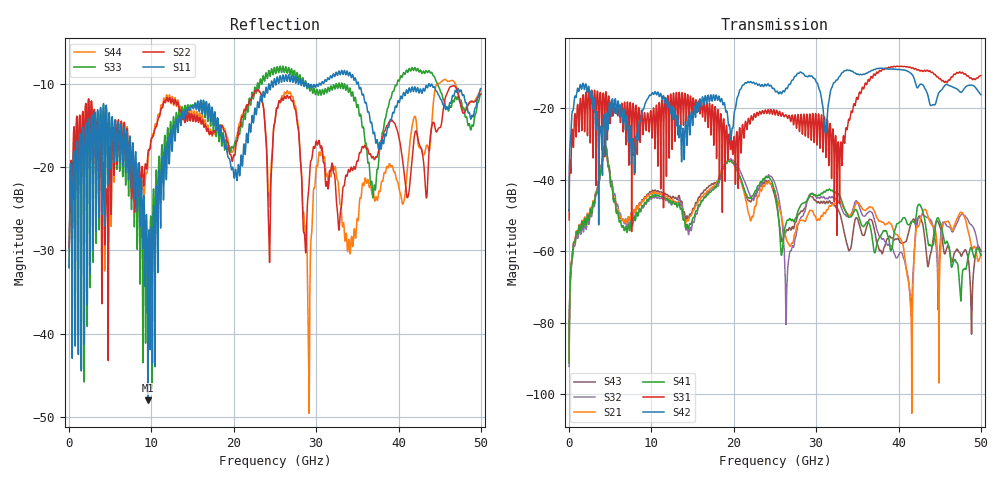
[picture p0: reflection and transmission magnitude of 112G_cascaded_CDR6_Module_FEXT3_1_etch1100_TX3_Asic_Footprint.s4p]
! Created Wed Feb 27 11:48:29 2019
# hz S ma R 50
! 4 Port Network Data from SP1.SP block
! freq  magS11  angS11  magS12  angS12  magS13  angS13  magS14  angS14
!  magS21  angS21  magS22  angS22  magS23  angS23  magS24  angS24
!  magS31  angS31  magS32  angS32  magS33  angS33  magS34  angS34
!  magS41  angS41  magS42  angS42  magS43  angS43  magS44  angS44
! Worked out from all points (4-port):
!   5000 points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, 10 MHz to 50 GHz, reference 50 ohm
!   strongest paths, dB at 10 MHz, 12.51 GHz, 25.01 GHz, 37.51 GHz, 50 GHz:
!     S42: -48.6, -19.6, -15.1, -8.8, -16.1
!     S31: -51.2, -31.4, -21.7, -10.1, -10.8
!     S41: -91.2, -46.6, -43.7, -56.9, -61.1
!     S21: -90.9, -45.8, -43.3, -51.0, -60.8
!     S32: -92.3, -46.8, -41.0, -54.8, -60.1
!     S43: -91.0, -45.0, -44.8, -58.4, -59.9
!   lowest |S11| = -48.0 dB at 9.56 GHz (marker M1), VSWR 1.01, Z = 50.3 - j0.309 ohm
!   |S11| at or under -10 dB: start of sweep to 24.53 GHz; 35.13 GHz to 43.67 GHz (8.541 GHz wide, 21.7 % of centre); 43.71 GHz to end of sweep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
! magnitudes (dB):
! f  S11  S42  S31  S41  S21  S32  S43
! 10 MHz  -32.1  -48.6  -51.2  -91.2  -90.9  -92.3  -91.0
! 1.19 GHz  -22.0  -15.2  -26.2  -53.2  -52.9  -54.4  -52.9
! 4.35 GHz  -27.1  -25.5  -27.1  -30.6  -30.4  -30.4  -30.7
! 9.56 GHz  -48.0  -17.3  -21.3  -45.5  -44.4  -45.7  -44.0
! 26.42 GHz  -9.5  -14.4  -22.2  -51.6  -56.9  -72.2  -53.9
! 29.12 GHz  -10.2  -10.8  -24.8  -44.7  -49.0  -44.6  -44.9
! 50 GHz  -10.6  -16.1  -10.8  -61.1  -60.8  -60.1  -59.9
